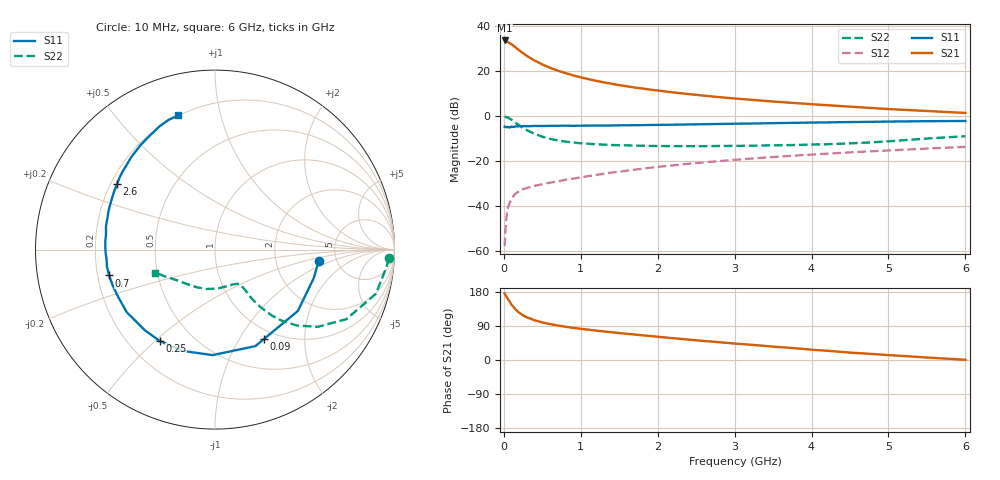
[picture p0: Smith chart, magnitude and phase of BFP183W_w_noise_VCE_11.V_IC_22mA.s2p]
! Infineon Technologies  Discrete & RF Semiconductors
! BFP183W
! VCE =  11. V,  IC =  22 mA
! Common Emitter S-Parameters:  Jan 2017
# GHz  S  MA  R  50
!  f  S11  S21  S12  S22
! GHz  MAG  ANG  MAG  ANG  MAG  ANG  MAG  ANG
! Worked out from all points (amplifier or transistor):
!   77 points, 10 MHz to 6 GHz, reference 50 ohm
!   highest |S21| = 33.5 dB at 10 MHz (marker M1)
!   |S21| within 3 dB of that: start of sweep to 150 MHz
!   unconditionally stable (mu >= 1): 1.196 GHz to 3.559 GHz
!   at 130 MHz: K = 0.24, MSG = 33.1 dB, |S12| = -35.3 dB
!   at 2.2 GHz: K = 1.06, MAG = 14.6 dB, |S12| = -21.9 dB
!   at 6 GHz: K = 0.86, MSG = 7.5 dB, |S12| = -13.7 dB
!   lowest NFmin = 1.22 dB at 450 MHz
!   S11 on the Smith chart (normalised r, x): 10 MHz: 3.63, -0.70; 90 MHz: 0.87, -1.28; 250 MHz: 0.33, -0.52; 700 MHz: 0.25, -0.11; 2.6 GHz: 0.23, +0.29; 6 GHz: 0.20, +0.74
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0.01  0.5811 -6.3  47.28 175.9  0.0013 67.0  0.9717 -2.9
0.02  0.5729 -16.0  46.19 171.8  0.0028 89.5  0.9583 -6.2
0.05  0.5745 -36.5  44.2 161.4  0.0088 73.9  0.9298 -15.3
0.09  0.5681 -61.4  39.81 149.3  0.0134 64.8  0.8452 -25.1
0.1  0.5829 -67.3  39.02 145.9  0.0146 63.4  0.8284 -27.9
0.15  0.588 -91.3  33.48 133.9  0.0189 56.4  0.7154 -37.0
0.2  0.593 -108.0  28.56 124.7  0.0216 51.4  0.6207 -42.9
0.25  0.5948 -121.2  24.63 117.7  0.0239 47.8  0.5444 -46.8
0.3  0.5954 -130.9  21.43 112.5  0.0253 46.1  0.4835 -49.3
0.4  0.603 -144.6  16.95 104.6  0.0283 46.0  0.3999 -51.9
0.5  0.6004 -153.8  13.88 99.1  0.0307 46.6  0.348 -53.0
0.6  0.6042 -160.8  11.76 94.7  0.0334 47.4  0.312 -53.3
0.7  0.607 -166.3  10.14 91.1  0.0353 49.6  0.2873 -53.2
0.9  0.6065 -175.1  7.952 84.9  0.0409 52.1  0.2584 -53.7
1.1  0.6116 178.5  6.56 80.0  0.0465 54.6  0.2425 -54.3
1.5  0.6205 168.1  4.838 71.2  0.0581 56.8  0.2246 -58.1
2.1  0.6379 155.3  3.496 59.5  0.0773 57.8  0.2151 -68.3
2.6  0.6568 146.3  2.822 50.3  0.0936 57.0  0.2147 -80.0
3.1  0.677 138.3  2.371 42.0  0.1098 55.2  0.2182 -92.4
4.1  0.7183 124.1  1.781 25.8  0.1428 50.5  0.2344 -118.0
5.1  0.7553 113.4  1.397 11.6  0.1755 44.9  0.2823 -144.1
6  0.7755 105.3  1.168 0.5  0.2073 39.2  0.3562 -158.8
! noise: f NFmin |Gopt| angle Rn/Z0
0.45  1.22  0.22  174  0.1
0.9  1.25  0.26  177  0.09
1.9  1.73  0.41  -161  0.09
2.4  1.96  0.46  -155  0.12
